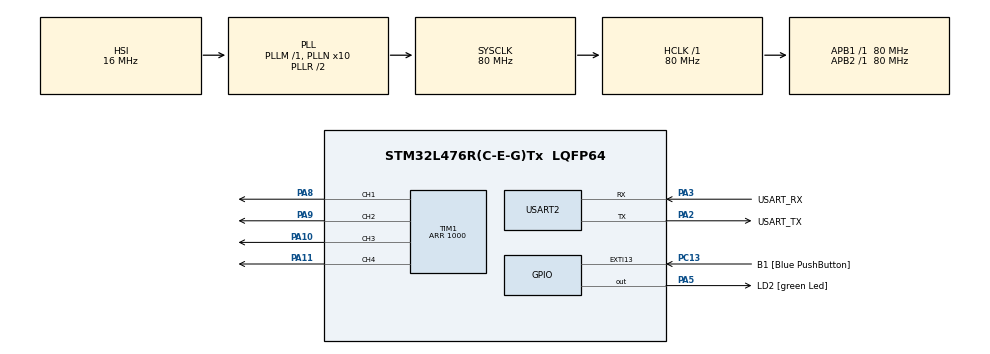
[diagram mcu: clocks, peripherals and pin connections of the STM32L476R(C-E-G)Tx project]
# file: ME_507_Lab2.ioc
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Mcu.Family=STM32L4
Mcu.Name=STM32L476R(C-E-G)Tx
Mcu.Package=LQFP64
NVIC.PriorityGroup=NVIC_PRIORITYGROUP_4
NVIC.USART2_IRQn=true\:0\:0\:false\:false\:true\:true\:true\:true
PA10.Signal=S_TIM1_CH3
PA11.Signal=S_TIM1_CH4
PA13\ (JTMS-SWDIO).GPIO_Label=TMS
PA13\ (JTMS-SWDIO).Mode=Serial_Wire
PA13\ (JTMS-SWDIO).Signal=SYS_JTMS-SWDIO
PA14\ (JTCK-SWCLK).GPIO_Label=TCK
PA14\ (JTCK-SWCLK).Mode=Serial_Wire
PA14\ (JTCK-SWCLK).Signal=SYS_JTCK-SWCLK
PA2.GPIO_Label=USART_TX
PA2.GPIO_Mode=GPIO_MODE_AF_PP
PA2.GPIO_PuPd=GPIO_NOPULL
PA2.GPIO_Speed=GPIO_SPEED_FREQ_VERY_HIGH
PA2.Mode=Asynchronous
PA2.Signal=USART2_TX
PA3.GPIO_Label=USART_RX
PA3.GPIO_Mode=GPIO_MODE_AF_PP
PA3.GPIO_PuPd=GPIO_NOPULL
PA3.GPIO_Speed=GPIO_SPEED_FREQ_VERY_HIGH
PA3.Mode=Asynchronous
PA3.Signal=USART2_RX
PA5.GPIO_Label=LD2 [green Led]
PA5.GPIO_ModeDefaultOutputPP=GPIO_MODE_OUTPUT_PP
PA5.GPIO_PuPd=GPIO_NOPULL
PA5.GPIO_Speed=GPIO_SPEED_FREQ_LOW
PA5.Signal=GPIO_Output
PA8.Signal=S_TIM1_CH1
PA9.Signal=S_TIM1_CH2
PB3\ (JTDO-TRACESWO).GPIO_Label=SWO
PB3\ (JTDO-TRACESWO).Signal=SYS_JTDO-SWO
PC13.GPIO_Label=B1 [Blue PushButton]
PC13.GPIO_ModeDefaultEXTI=GPIO_MODE_IT_FALLING
PC13.GPIO_PuPd=GPIO_NOPULL
PC13.Signal=GPXTI13
PC14-OSC32_IN\ (PC14).Mode=LSE-External-Oscillator
PC14-OSC32_IN\ (PC14).Signal=RCC_OSC32_IN
PC15-OSC32_OUT\ (PC15).Mode=LSE-External-Oscillator
PC15-OSC32_OUT\ (PC15).Signal=RCC_OSC32_OUT
PH0-OSC_IN\ (PH0).Signal=RCC_OSC_IN
PH1-OSC_OUT\ (PH1).Signal=RCC_OSC_OUT
ProjectManager.HeapSize=0x200
ProjectManager.StackSize=0x400
ProjectManager.TargetToolchain=STM32CubeIDE
RCC.ADCFreq_Value=64000000
RCC.AHBFreq_Value=80000000
RCC.APB1Freq_Value=80000000
RCC.APB1TimFreq_Value=80000000
RCC.APB2Freq_Value=80000000
RCC.APB2TimFreq_Value=80000000
RCC.CortexFreq_Value=80000000
RCC.HCLKFreq_Value=80000000
RCC.HSE_VALUE=8000000
RCC.HSI_VALUE=16000000
RCC.MSI_VALUE=4000000
RCC.PLLN=10
RCC.PLLSourceVirtual=RCC_PLLSOURCE_HSI
RCC.PREFETCH_ENABLE=1
RCC.SYSCLKFreq_VALUE=80000000
RCC.SYSCLKSource=RCC_SYSCLKSOURCE_PLLCLK
RCC.USBFreq_Value=64000000
RCC.VCOOutputFreq_Value=160000000
SH.S_TIM1_CH1.0=TIM1_CH1,PWM Generation1 CH1
SH.S_TIM1_CH2.0=TIM1_CH2,PWM Generation2 CH2
SH.S_TIM1_CH3.0=TIM1_CH3,PWM Generation3 CH3
SH.S_TIM1_CH4.0=TIM1_CH4,PWM Generation4 CH4
TIM1.Channel-PWM\ Generation1\ CH1=TIM_CHANNEL_1
TIM1.Channel-PWM\ Generation2\ CH2=TIM_CHANNEL_2
TIM1.Channel-PWM\ Generation3\ CH3=TIM_CHANNEL_3
TIM1.Channel-PWM\ Generation4\ CH4=TIM_CHANNEL_4
TIM1.Period=1000
USART2.VirtualMode-Asynchronous=VM_ASYNC
board=NUCLEO-L476RG

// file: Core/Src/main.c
/* USER CODE BEGIN Header */
/**
  ******************************************************************************
  * @file           : main.c
  * @brief          : Main program body
  ******************************************************************************
  * @attention
  *
  * Copyright (c) 2024 STMicroelectronics.
  * All rights reserved.
  *
  * This software is licensed under terms that can be found in the LICENSE file
  * in the root directory of this software component.
  * If no LICENSE file comes with this software, it is provided AS-IS.
  *
  ******************************************************************************
  */
/* USER CODE END Header */
#include "main.h"

/* USER CODE BEGIN Includes */
#include<stdio.h>
#include<stdlib.h>
#include<string.h>
#include "motor_driver.h"
/* USER CODE END Includes */

TIM_HandleTypeDef htim1;

UART_HandleTypeDef huart2;

/* USER CODE BEGIN PV */
//! @var char char_in
//! character user inputs
char  char_in;

//! @var char input_code[]
//! the code the user has input
char input_code[]= "iiiii";

//! @var int idx
//! index of input_code
int idx = 0;

//! @var char allowed_numbers[]
//! string of hexidecimal numbers - the list of allowed characters the user can input
char allowed_numbers[17] = "1234567890ABCDEF";

//! @var double pwm_lvl
//! pwm level printed for the user
double pwm_lvl;

//! @var char *dummy_ptr
//! a dummy pointer for when a function requires one that isnt used
char *dummy_ptr;

//! @var long input_lvl
//! the pwm level the user input in hex
long input_lvl;
/* USER CODE END PV */

void SystemClock_Config(void);
static void MX_GPIO_Init(void);
static void MX_USART2_UART_Init(void);
static void MX_TIM1_Init(void);

int main(void)
{

  /* MCU Configuration--------------------------------------------------------*/

  /* Reset of all peripherals, Initializes the Flash interface and the Systick. */
  HAL_Init();

  /* Configure the system clock */
  SystemClock_Config();

  /* Initialize all configured peripherals */
  MX_GPIO_Init();
  MX_USART2_UART_Init();
  MX_TIM1_Init();
  /* USER CODE BEGIN 2 */
  //! allow for receiving of interrupts through uart
  HAL_UART_Receive_IT(&huart2, (uint8_t*)&char_in, 1);

  //! Start all of the pwm channels
  HAL_TIM_PWM_Start(&htim1, TIM_CHANNEL_1);
  HAL_TIM_PWM_Start(&htim1, TIM_CHANNEL_2);
  HAL_TIM_PWM_Start(&htim1, TIM_CHANNEL_3);
  HAL_TIM_PWM_Start(&htim1, TIM_CHANNEL_4);

  //! create motor "objects" (structs)
  /*!
   * @var Motor m1
   * The instance of the first motor instantiated.  The motor runs off timer 1 channels 3 and 4.
   */
  Motor m1 = { .timer = &htim1,
		       .channels = 1,
			   .duty_cycle = 0,
               .enable_flag = 0
  	  	  	  };
  /*!
     * @var Motor m2
     * The instance of the second motor instantiated.  The motor runs off timer 1 channels 3 and 4.
     */
  Motor m2 = { .timer = &htim1,
		       .channels = 2,
			   .duty_cycle = 0,
               .enable_flag = 0
  	  	  	  };

  //! enable the motors
  motor_enable_disable(&m1,0);
  motor_enable_disable(&m2,0);
  motor_enable_disable(&m1,1);
  motor_enable_disable(&m2,1);
  /* USER CODE END 2 */

  /* Infinite loop */
  /* USER CODE BEGIN WHILE */
  //! @brief This is the game loop that runs forever to convert user inputed code into a PWM signal to drive the motors.
  while (1)
  {
    /* USER CODE END WHILE */
    /* USER CODE BEGIN 3 */
	  //! Handle backspaces by correctly indexing the string when a backspace is pressed (but only if there is room to backspace in the input string)
	  if((char_in == 8 || char_in == 127) && idx > 0){
		  idx = idx - 2;
		  char_in = 'i';
	  }
	  //! check if a carraige return has been hit
	  if(char_in == '\r'){
		  //! Creating new line character since I use it so much (im a lazy programmer)
		  char nl = '\n';
		  //! Firstly, we only want to check the code if there are 5 chars in it (4 for the code
		  //! and a carraige return.  Otherwise, skip and clear the buffer
		  if(idx == 5){
			  //! if the first two characters in the code are M1 or M2, continue with the checking
			  if(input_code[0] == 'M' && (input_code[1] == '1' || input_code[1] == '2')){
				  //! only continue if the 3rd and 4th char in the input string are chars 0-9 or A-F
				  if(strchr((char*)allowed_numbers, input_code[2]) && strchr((char*)allowed_numbers, input_code[3])){
					  //! Get string of input pwm value
					  char input_lvl_str[3];
					  input_lvl_str[0] = input_code[2];
					  input_lvl_str[1] = input_code[3];
					  //! convert the input string to an unsigned long
					  input_lvl = strtol((char*)input_lvl_str,&dummy_ptr,16);
					  //! convert the number from 0-255 to a number from -128->127 and then -100->100
					  if(input_lvl >= 128){
						  pwm_lvl = (256-(double)input_lvl)*100/128*-1;
					  }else{
						  pwm_lvl = (double)input_lvl*100/128;
					  }
					  //! apply the duty cycle to the right motor
					  if(input_code[1] == '1'){
						  motor_set_duty_cycle(&m1,(int32_t)pwm_lvl);
					  }else{
						  motor_set_duty_cycle(&m2,(int32_t)pwm_lvl);
					  }
					  char pwm_str[40];
					  //!Delays are required to make transmit work
					  //!print stuff out over uart
					  HAL_Delay(0.05);
					  HAL_UART_Transmit(&huart2, (uint8_t*)&nl, 1,1000);
					  int len = sprintf(pwm_str, "PWM level: %.2f \n\r", pwm_lvl);
					  HAL_Delay(0.05);
					  HAL_UART_Transmit(&huart2, (uint8_t*)&pwm_str, len,1000);
					  HAL_Delay(0.05);
					  HAL_UART_Transmit(&huart2, (uint8_t*)&nl, 1,1000);
					  HAL_Delay(0.05);
					  HAL_UART_Transmit(&huart2, (uint8_t*)13, 1,1000);
				  }
			  }
		  }
		  //! reset the buffer to dummy chars
		  strcpy(input_code,"iiiii");
		  HAL_Delay(0.05);
		  HAL_UART_Transmit_IT(&huart2, (uint8_t*)&nl, 1);
		  //! clear char in so carraige return doesn't trigger if statement every time
		  char_in = '\0';
		  //! reset the index
		  idx = 0;
	  }
  }
  /* USER CODE END 3 */
}

void SystemClock_Config(void)
{
  RCC_OscInitTypeDef RCC_OscInitStruct = {0};
  RCC_ClkInitTypeDef RCC_ClkInitStruct = {0};

  /** Configure the main internal regulator output voltage
  */
  if (HAL_PWREx_ControlVoltageScaling(PWR_REGULATOR_VOLTAGE_SCALE1) != HAL_OK)
  {
    Error_Handler();
  }

  /** Initializes the RCC Oscillators according to the specified parameters
  * in the RCC_OscInitTypeDef structure.
  */
  RCC_OscInitStruct.OscillatorType = RCC_OSCILLATORTYPE_HSI;
  RCC_OscInitStruct.HSIState = RCC_HSI_ON;
  RCC_OscInitStruct.HSICalibrationValue = RCC_HSICALIBRATION_DEFAULT;
  RCC_OscInitStruct.PLL.PLLState = RCC_PLL_ON;
  RCC_OscInitStruct.PLL.PLLSource = RCC_PLLSOURCE_HSI;
  RCC_OscInitStruct.PLL.PLLM = 1;
  RCC_OscInitStruct.PLL.PLLN = 10;
  RCC_OscInitStruct.PLL.PLLP = RCC_PLLP_DIV7;
  RCC_OscInitStruct.PLL.PLLQ = RCC_PLLQ_DIV2;
  RCC_OscInitStruct.PLL.PLLR = RCC_PLLR_DIV2;
  if (HAL_RCC_OscConfig(&RCC_OscInitStruct) != HAL_OK)
  {
    Error_Handler();
  }

  /** Initializes the CPU, AHB and APB buses clocks
  */
  RCC_ClkInitStruct.ClockType = RCC_CLOCKTYPE_HCLK|RCC_CLOCKTYPE_SYSCLK
                              |RCC_CLOCKTYPE_PCLK1|RCC_CLOCKTYPE_PCLK2;
  RCC_ClkInitStruct.SYSCLKSource = RCC_SYSCLKSOURCE_PLLCLK;
  RCC_ClkInitStruct.AHBCLKDivider = RCC_SYSCLK_DIV1;
  RCC_ClkInitStruct.APB1CLKDivider = RCC_HCLK_DIV1;
  RCC_ClkInitStruct.APB2CLKDivider = RCC_HCLK_DIV1;

  if (HAL_RCC_ClockConfig(&RCC_ClkInitStruct, FLASH_LATENCY_4) != HAL_OK)
  {
    Error_Handler();
  }
}

static void MX_TIM1_Init(void)
{

  TIM_MasterConfigTypeDef sMasterConfig = {0};
  TIM_OC_InitTypeDef sConfigOC = {0};
  TIM_BreakDeadTimeConfigTypeDef sBreakDeadTimeConfig = {0};

  htim1.Instance = TIM1;
  htim1.Init.Prescaler = 0;
  htim1.Init.CounterMode = TIM_COUNTERMODE_UP;
  htim1.Init.Period = 1000;
  htim1.Init.ClockDivision = TIM_CLOCKDIVISION_DIV1;
  htim1.Init.RepetitionCounter = 0;
  htim1.Init.AutoReloadPreload = TIM_AUTORELOAD_PRELOAD_DISABLE;
  if (HAL_TIM_PWM_Init(&htim1) != HAL_OK)
  {
    Error_Handler();
  }
  sMasterConfig.MasterOutputTrigger = TIM_TRGO_RESET;
  sMasterConfig.MasterOutputTrigger2 = TIM_TRGO2_RESET;
  sMasterConfig.MasterSlaveMode = TIM_MASTERSLAVEMODE_DISABLE;
  if (HAL_TIMEx_MasterConfigSynchronization(&htim1, &sMasterConfig) != HAL_OK)
  {
    Error_Handler();
  }
  sConfigOC.OCMode = TIM_OCMODE_PWM1;
  sConfigOC.Pulse = 0;
  sConfigOC.OCPolarity = TIM_OCPOLARITY_HIGH;
  sConfigOC.OCNPolarity = TIM_OCNPOLARITY_HIGH;
  sConfigOC.OCFastMode = TIM_OCFAST_DISABLE;
  sConfigOC.OCIdleState = TIM_OCIDLESTATE_RESET;
  sConfigOC.OCNIdleState = TIM_OCNIDLESTATE_RESET;
  if (HAL_TIM_PWM_ConfigChannel(&htim1, &sConfigOC, TIM_CHANNEL_1) != HAL_OK)
  {
    Error_Handler();
  }
  if (HAL_TIM_PWM_ConfigChannel(&htim1, &sConfigOC, TIM_CHANNEL_2) != HAL_OK)
  {
    Error_Handler();
  }
  if (HAL_TIM_PWM_ConfigChannel(&htim1, &sConfigOC, TIM_CHANNEL_3) != HAL_OK)
  {
    Error_Handler();
  }
  if (HAL_TIM_PWM_ConfigChannel(&htim1, &sConfigOC, TIM_CHANNEL_4) != HAL_OK)
  {
    Error_Handler();
  }
  sBreakDeadTimeConfig.OffStateRunMode = TIM_OSSR_DISABLE;
  sBreakDeadTimeConfig.OffStateIDLEMode = TIM_OSSI_DISABLE;
  sBreakDeadTimeConfig.LockLevel = TIM_LOCKLEVEL_OFF;
  sBreakDeadTimeConfig.DeadTime = 0;
  sBreakDeadTimeConfig.BreakState = TIM_BREAK_DISABLE;
  sBreakDeadTimeConfig.BreakPolarity = TIM_BREAKPOLARITY_HIGH;
  sBreakDeadTimeConfig.BreakFilter = 0;
  sBreakDeadTimeConfig.Break2State = TIM_BREAK2_DISABLE;
  sBreakDeadTimeConfig.Break2Polarity = TIM_BREAK2POLARITY_HIGH;
  sBreakDeadTimeConfig.Break2Filter = 0;
  sBreakDeadTimeConfig.AutomaticOutput = TIM_AUTOMATICOUTPUT_DISABLE;
  if (HAL_TIMEx_ConfigBreakDeadTime(&htim1, &sBreakDeadTimeConfig) != HAL_OK)
  {
    Error_Handler();
  }
  HAL_TIM_MspPostInit(&htim1);

}

static void MX_USART2_UART_Init(void)
{

  huart2.Instance = USART2;
  huart2.Init.BaudRate = 115200;
  huart2.Init.WordLength = UART_WORDLENGTH_8B;
  huart2.Init.StopBits = UART_STOPBITS_1;
  huart2.Init.Parity = UART_PARITY_NONE;
  huart2.Init.Mode = UART_MODE_TX_RX;
  huart2.Init.HwFlowCtl = UART_HWCONTROL_NONE;
  huart2.Init.OverSampling = UART_OVERSAMPLING_16;
  huart2.Init.OneBitSampling = UART_ONE_BIT_SAMPLE_DISABLE;
  huart2.AdvancedInit.AdvFeatureInit = UART_ADVFEATURE_NO_INIT;
  if (HAL_UART_Init(&huart2) != HAL_OK)
  {
    Error_Handler();
  }

}

static void MX_GPIO_Init(void)
{
  GPIO_InitTypeDef GPIO_InitStruct = {0};

  /* GPIO Ports Clock Enable */
  __HAL_RCC_GPIOC_CLK_ENABLE();
  __HAL_RCC_GPIOH_CLK_ENABLE();
  __HAL_RCC_GPIOA_CLK_ENABLE();
  __HAL_RCC_GPIOB_CLK_ENABLE();

  /*Configure GPIO pin Output Level */
  HAL_GPIO_WritePin(LD2_GPIO_Port, LD2_Pin, GPIO_PIN_RESET);

  /*Configure GPIO pin : B1_Pin */
  GPIO_InitStruct.Pin = B1_Pin;
  GPIO_InitStruct.Mode = GPIO_MODE_IT_FALLING;
  GPIO_InitStruct.Pull = GPIO_NOPULL;
  HAL_GPIO_Init(B1_GPIO_Port, &GPIO_InitStruct);

  /*Configure GPIO pin : LD2_Pin */
  GPIO_InitStruct.Pin = LD2_Pin;
  GPIO_InitStruct.Mode = GPIO_MODE_OUTPUT_PP;
  GPIO_InitStruct.Pull = GPIO_NOPULL;
  GPIO_InitStruct.Speed = GPIO_SPEED_FREQ_LOW;
  HAL_GPIO_Init(LD2_GPIO_Port, &GPIO_InitStruct);

}

/* USER CODE BEGIN 4 */

/*!
 * The callback function used when the uart between the user and the nucleo generates an interrupt.
 * @param *huart The uart channel used to generate the interrupt
 */
void HAL_UART_RxCpltCallback(UART_HandleTypeDef *huart){

	HAL_UART_Transmit_IT(&huart2, (uint8_t*)&char_in, 1);
	if(idx < 5){
		input_code[idx] = char_in;
		idx = idx + 1;
	}
	HAL_UART_Receive_IT(&huart2, (uint8_t*) &char_in, 1);
}
/* USER CODE END 4 */

void Error_Handler(void)
{
  __disable_irq();
  while (1)
  {
  }
}
